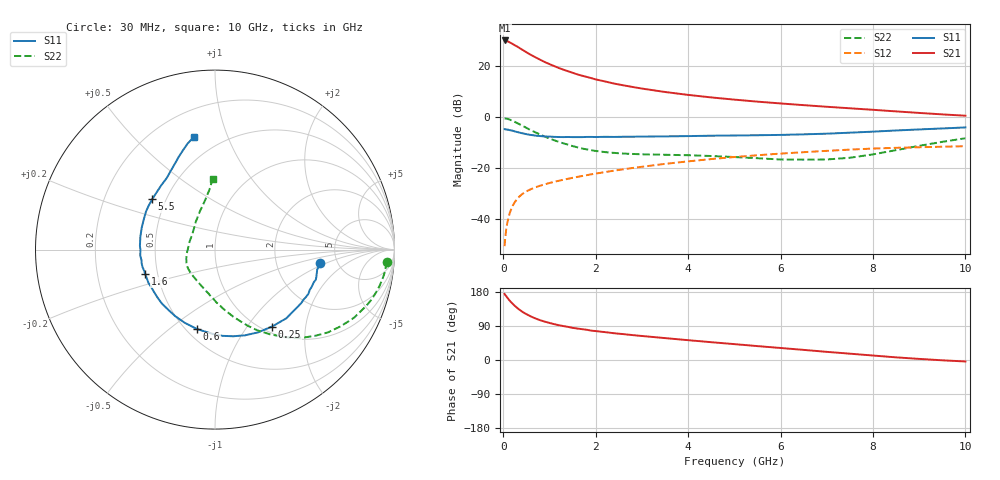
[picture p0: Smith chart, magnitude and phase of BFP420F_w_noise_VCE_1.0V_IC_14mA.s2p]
! Infineon Technologies  Discrete & RF Semiconductors
! BFP420F
! VCE =  1.0 V,  IC =  14 mA
! Common Emitter S-Parameters:  Sep 2011
# GHz  S  MA  R  50
!  f  S11  S21  S12  S22
! GHz  MAG  ANG  MAG  ANG  MAG  ANG  MAG  ANG
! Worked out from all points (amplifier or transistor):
!   54 points, 30 MHz to 10 GHz, reference 50 ohm
!   highest |S21| = 30.2 dB at 30 MHz (marker M1)
!   |S21| within 3 dB of that: start of sweep to 355.8 MHz
!   unconditionally stable (mu >= 1): 1.789 GHz to end of sweep
!   at 120 MHz: K = 0.20, MSG = 34.2 dB, |S12| = -38.8 dB
!   at 1.3 GHz: K = 0.86, MSG = 21.6 dB, |S12| = -24.4 dB
!   at 10 GHz: K = 1.24, MAG = 3.0 dB, |S12| = -11.3 dB
!   lowest NFmin = 1.34 dB at 450 MHz
!   S11 on the Smith chart (normalised r, x): 30 MHz: 3.69, -0.82; 250 MHz: 1.10, -1.32; 600 MHz: 0.56, -0.63; 1.6 GHz: 0.43, -0.14; 5.5 GHz: 0.42, +0.30; 10 GHz: 0.36, +0.76
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0.03  0.5908 -7.0  32.35 174.3  0.003 88.9  0.958 -4.1
0.05  0.58 -11.0  31.87 170.5  0.0049 87.8  0.955 -6.9
0.07  0.5864 -16.6  31.77 167.7  0.007 82.9  0.9477 -9.8
0.12  0.5714 -27.7  30.43 159.4  0.0115 79.7  0.9208 -16.5
0.2  0.5517 -44.0  27.77 148.9  0.0183 73.3  0.8627 -26.1
0.25  0.5336 -53.5  26.07 142.9  0.0218 70.0  0.8204 -31.4
0.3  0.5199 -62.5  24.63 137.6  0.0253 67.2  0.7805 -36.2
0.4  0.4933 -78.2  21.61 128.4  0.0309 62.9  0.6993 -44.4
0.5  0.4708 -91.2  19.05 121.1  0.0356 59.8  0.6264 -51.2
0.6  0.4539 -102.7  16.84 114.8  0.0393 57.6  0.5618 -57.1
0.7  0.4411 -112.6  15.09 109.5  0.0429 56.0  0.5092 -62.2
0.8  0.4319 -121.0  13.53 104.9  0.046 55.1  0.4622 -66.7
1  0.4218 -134.4  11.13 97.8  0.0519 54.2  0.3882 -74.7
1.2  0.4137 -145.1  9.343 91.8  0.0574 53.7  0.3335 -82.0
1.6  0.412 -160.5  7.008 83.1  0.0683 53.6  0.2609 -95.2
1.7  0.4121 -163.5  6.612 81.5  0.071 53.6  0.2473 -98.4
2.4  0.4155 -179.5  4.617 70.6  0.0908 52.8  0.2022 -119.1
3.5  0.4261 163.3  3.161 57.8  0.123 49.8  0.1857 -140.2
5.5  0.4486 141.3  2.044 36.7  0.1818 39.1  0.1589 -172.0
7  0.4814 123.9  1.622 21.5  0.2217 29.5  0.1502 150.7
8.5  0.5561 111.2  1.316 7.0  0.2542 18.6  0.2291 111.6
10  0.6378 100.8  1.083 -3.9  0.2734 9.7  0.3913 92.0
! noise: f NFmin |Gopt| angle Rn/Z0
0.45  1.34  0.08  173  0.11
0.9  1.34  0.09  161  0.13
1.9  1.47  0.19  177  0.19
2.4  1.53  0.19  -180  0.12
3.5  1.78  0.24  -164  0.17
